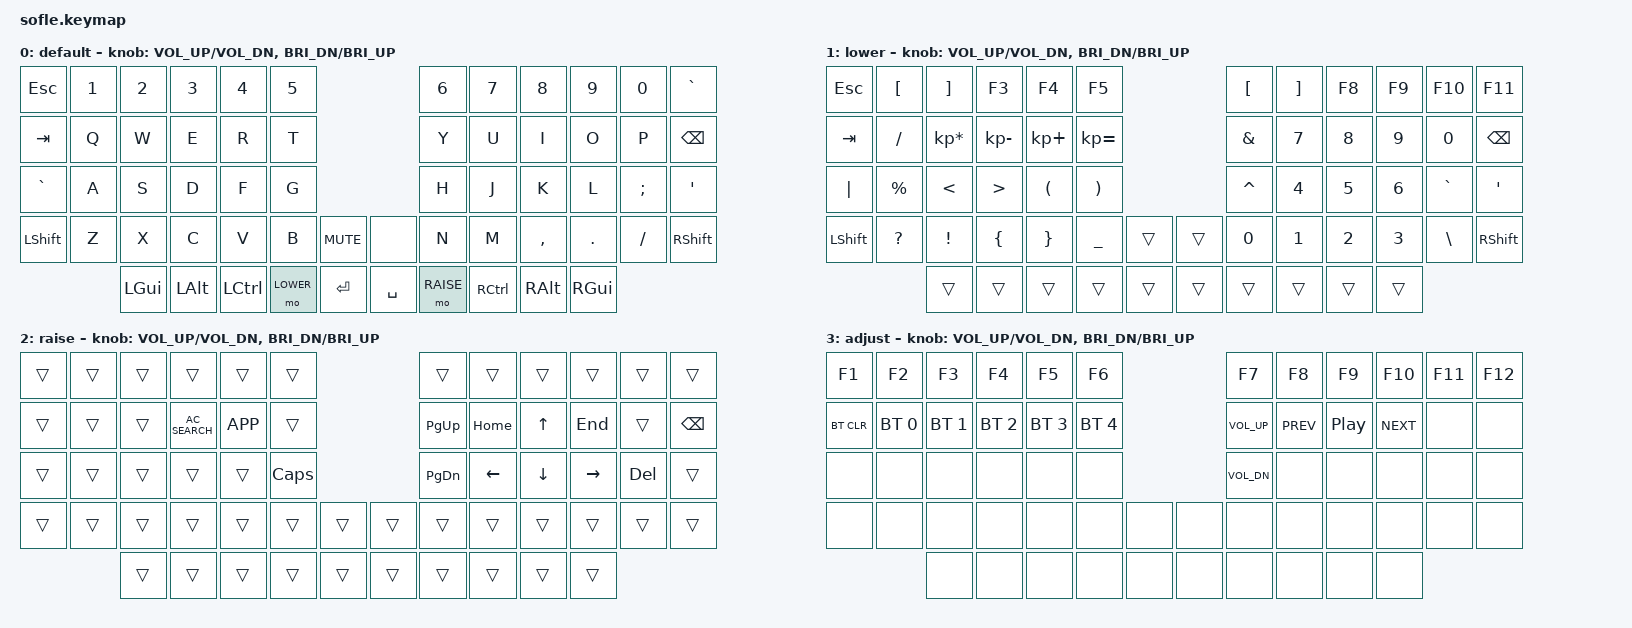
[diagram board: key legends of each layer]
/*
 * Copyright (c) 2020 The ZMK Contributors
 *
 * SPDX-License-Identifier: MIT
 */

#include <behaviors.dtsi>
#include <dt-bindings/zmk/keys.h>
#include <dt-bindings/zmk/bt.h>
#include <dt-bindings/zmk/rgb.h>
#include <dt-bindings/zmk/ext_power.h>

#define BASE 0
#define LOWER 1
#define RAISE 2
#define ADJUST 3

&nice_view_spi {
    cs-gpios = <&pro_micro 4 GPIO_ACTIVE_HIGH>;
};

/ {

   // Activate ADJUST layer by pressing raise and lower
    conditional_layers {
        compatible = "zmk,conditional-layers";
        adjust_layer {
            if-layers = <LOWER RAISE>;
            then-layer = <ADJUST>;
        };
    };

    keymap {
        compatible = "zmk,keymap";

        default_layer {
            display-name = "default";
//
// QWERTY
 // ,-----------------------------------------.                    ,-----------------------------------------.
 // | ESC  |   1  |   2  |   3  |   4  |   5  |                    |   6  |   7  |   8  |   9  |   0  |  `   |
 // |------+------+------+------+------+------|                    |------+------+------+------+------+------|
 // | Tab  |   Q  |   W  |   E  |   R  |   T  |                    |   Y  |   U  |   I  |   O  |   P  | Bspc |
 // |------+------+------+------+------+------|                    |------+------+------+------+------+------|
 // | `    |   A  |   S  |   D  |   F  |   G  |-------.    ,-------|   H  |   J  |   K  |   L  |   ;  |  '   |
 // |------+------+------+------+------+------| MUTE  |    |       |------+------+------+------+------+------|
 // |LShift|   Z  |   X  |   C  |   V  |   B  |-------|    |-------|   N  |   M  |   ,  |   .  |   /  |RShift|
 // `-----------------------------------------/       /     \      \-----------------------------------------'
 //            | LGUI | LAlt | LCTR |LOWER | /Enter  /       \Space \  |RAISE | RCTR | RAlt | RGUI |
 //            |      |      |      |      |/       /         \      \ |      |      |      |      |
 //            `----------------------------------'           '------''---------------------------'
 //
            bindings = <
&kp ESC     &kp N1 &kp N2   &kp N3   &kp N4    &kp N5                           &kp N6 &kp N7    &kp N8    &kp N9   &kp N0   &kp GRAVE
&kp TAB     &kp Q  &kp W    &kp E    &kp R     &kp T                            &kp Y  &kp U     &kp I     &kp O    &kp P    &kp BSPC
&kp GRAVE   &kp A  &kp S    &kp D    &kp F     &kp G                            &kp H  &kp J     &kp K     &kp L    &kp SEMI &kp SQT
&kp LSHFT   &kp Z  &kp X    &kp C    &kp V     &kp B    &kp C_MUTE  &none       &kp N  &kp M     &kp COMMA &kp DOT  &kp FSLH &kp RSHFT
                 &kp LGUI &kp LALT &kp LCTRL &mo LOWER  &kp RET    &kp SPACE  &mo RAISE  &kp RCTRL &kp RALT  &kp RGUI
            >;

            sensor-bindings = <&inc_dec_kp C_VOL_UP C_VOL_DN &inc_dec_kp C_BRI_DN C_BRI_UP>;
        };

        lower_layer {
            display-name = "lower";
// TODO: Some binds are waiting for shifted keycode support.
// LOWER
 // ,-----------------------------------------.                    ,-----------------------------------------.
 // | ESC  |  [   |  ]   |  F3  |  F4  |  F5  |                    |  [   |  ]   |  F8  |  F9  | F10  | F11  |
 // |------+------+------+------+------+------|                    |------+------+------+------+------+------|
 // |  Tab |   /  | *    |  -   |   +  |   =  |                    |   &  |   7  |   8  |   9  |   0  | Bks  |
 // |------+------+------+------+------+------|                    |------+------+------+------+------+------|
 // | |    |   %  |   <  |   >  |  (   |  )   |-------.    ,-------|   ^  |  4   |   5  |   6  |   `  |   '  |
 // |------+------+------+------+------+------|  MUTE |    |       |------+------+------+------+------+------|
 // | Shift|  ?   |  !   |  {   |   }  |   _  |-------|    |-------|   0  |  1   |   2  |   3  |   \  | Shift|
 // `-----------------------------------------/       /     \      \-----------------------------------------'
 //            | LGUI | LAlt | LCTR |LOWER | /Enter  /       \Space \  |RAISE | RCTR | RAlt | RGUI |
 //            |      |      |      |      |/       /         \      \ |      |      |      |      |
 //            `----------------------------------'           '------''---------------------------'
 //
            bindings = <
&kp ESC     &kp LBKT    &kp RBKT            &kp F3          &kp F4          &kp F5                                  &kp LBKT    &kp RBKT    &kp F8    &kp F9    &kp F10     &kp F11
&kp TAB     &kp SLASH    &kp KP_ASTERISK     &kp KP_MINUS    &kp KP_PLUS     &kp KP_EQUAL                            &kp AMPS    &kp N7      &kp N8    &kp N9    &kp N0      &kp BSPC
&kp PIPE    &kp PERCENT &kp LT              &kp GT          &kp LPAR        &kp RPAR                                &kp CARET   &kp N4      &kp N5    &kp N6    &kp GRAVE   &kp SQT
&kp LSHIFT  &kp QMARK   &kp EXCL            &kp LBRC        &kp RBRC        &kp UNDER   &trans          &trans     &kp N0      &kp N1      &kp N2    &kp N3    &kp BSLH    &kp RSHIFT
                                            &trans    &trans      &trans    &trans     &trans           &trans  &trans    &trans   &trans    &trans
            >;

            sensor-bindings = <&inc_dec_kp C_VOL_UP C_VOL_DN &inc_dec_kp C_BRI_DN C_BRI_UP>;
        };

        raise_layer {
            display-name = "raise";
// RAISE
 // ,----------------------------------------.                     ,-----------------------------------------.
 // |      |      |      |      |      |      |                    |      |      |      |      |      |      |
 // |------+------+------+------+------+------|                    |------+------+------+------+------+------|
 // |      |      |      |C_SEARCH|K_APP|     |                    | pg up| home |  Up  |  end |      | Bspc |
 // |------+------+------+------+------+------|                    |------+------+------+------+------+------|
 // |      |      |      |      |      | Caps |-------.    ,-------| pg dw| Left | Down | Rigth|  Del |      |
 // |------+------+------+------+------+------|  MUTE |    |       |------+------+------+------+------+------|
 // |      |      |      |      |      |      |-------|    |-------|      |      |      |      |      |      |
 // `-----------------------------------------/       /     \      \-----------------------------------------'
 //            | LGUI | LAlt | LCTR |LOWER | /Enter  /       \Space \  |RAISE | RCTR | RAlt | RGUI |
 //            |      |      |      |      |/       /         \      \ |      |      |      |      |
 //           `----------------------------------'           '------''---------------------------'
 // 
            bindings = <
&trans     &trans      &trans    &trans     &trans      &trans                          &trans    &trans      &trans   &trans       &trans      &trans
&trans     &trans      &trans    &kp C_AC_SEARCH     &kp K_APP      &trans                          &kp PG_UP &kp HOME    &kp UP   &kp END      &trans   &kp BSPC
&trans     &trans      &trans    &trans     &trans      &kp CAPS                        &kp PG_DN &kp LEFT    &kp DOWN &kp RIGHT    &kp DEL     &trans
&trans     &trans      &trans    &trans     &trans      &trans      &trans      &trans  &trans    &trans      &trans   &trans       &trans      &trans
                &trans       &trans       &trans        &trans      &trans      &trans  &trans    &trans    &trans   &trans
            >;

            sensor-bindings = <&inc_dec_kp C_VOL_UP C_VOL_DN &inc_dec_kp C_BRI_DN C_BRI_UP>;
        };

        adjust_layer {
// MO3
 // ,----------------------------------------.                     ,-----------------------------------------.
 // |  F1  |  F2  |  F3  |  F45 |  F5  |  F6  |                    |  F7  |  F8  |  F9  |  F10 |  F11 |  F12 |
 // |------+------+------+------+------+------|                    |------+------+------+------+------+------|
 // |BTCLR |BT1   |BT2   |BT3   |BT4   |BT5   |                    |VOL UP|  <<  |  >   |   >> |      |      |
 // |------+------+------+------+------+------|                    |------+------+------+------+------+------|
 // |      |      |      |      |      |      |-------.    ,-------|VOL DN|      |      |      |      |      |
 // |------+------+------+------+------+------|  MUTE  |   |       |------+------+------+------+------+------|
 // |      |      |      |      |      |      |--------|   |-------|      |      |      |      |      |      |
 // `-----------------------------------------/       /     \      \-----------------------------------------'
 //            | LGUI | LAlt | LCTR |LOWER | /Enter  /       \Space \  |RAISE | RCTR | RAlt | RGUI |
 //            |      |      |      |      |/       /         \      \ |      |      |      |      |
 //            `----------------------------------'           '------''---------------------------'
 //
            display-name = "adjust";
            bindings = <
&kp F1        &kp F2    &kp F3    &kp F4    &kp F5   &kp F6                             &kp F7 &kp F8 &kp F9 &kp F10 &kp F11 &kp F12
&bt BT_CLR &bt BT_SEL 0 &bt BT_SEL 1 &bt BT_SEL 2 &bt BT_SEL 3 &bt BT_SEL 4             &kp C_VOL_UP &kp C_PREV &kp C_PP &kp C_NEXT &none &none
&none       &none       &none   &none       &none   &none                               &kp C_VOL_DN &none &none &none &none &none
&none       &none       &none   &none       &none   &none  &none                &none   &none &none &none &none &none &none
                        &none   &none       &none   &none  &none                &none  &none &none &none &none
            >;

            sensor-bindings = <&inc_dec_kp C_VOL_UP C_VOL_DN &inc_dec_kp C_BRI_DN C_BRI_UP>;
        };

    };
};


